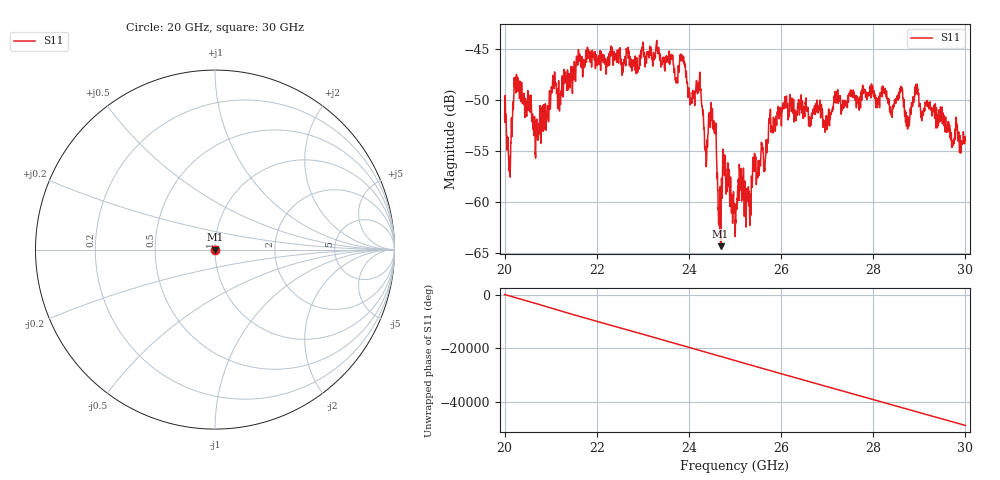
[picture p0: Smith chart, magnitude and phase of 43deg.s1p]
#  HZ  S  RI  R  50.00
! Rohde & Schwarz ZVA40 4Ports - Version 3.90 - 1145.1110k42 SN: 100403
! Date: 2023-10-03 10:42:26
! Measurement: S12
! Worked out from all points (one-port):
!   5001 points, 20 GHz to 30 GHz, reference 50 ohm
!   lowest |S11| = -64.3 dB at 24.69 GHz (marker M1), VSWR 1.00, Z = 50 - j0.055 ohm
!   |S11| at or under -10 dB: start of sweep to end of sweep
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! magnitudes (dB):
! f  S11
! 20 GHz  -51.5
! 20.09 GHz  -56.1
! 20.26 GHz  -47.5
! 20.71 GHz  -53.2
! 21.06 GHz  -47.8
! 21.25 GHz  -47.6
! 21.6 GHz  -45.0
! 22.5 GHz  -45.3
! 23.33 GHz  -45.3
! 23.75 GHz  -48.1
! 23.85 GHz  -45.6
! 24.21 GHz  -48.9
! 24.37 GHz  -55.6
! 24.52 GHz  -52.4
! 24.65 GHz  -62.2
! 24.69 GHz  -64.3
! 24.78 GHz  -56.4
! 25 GHz  -61.2
! 25.14 GHz  -57.7
! 25.3 GHz  -60.0
! 25.77 GHz  -51.3
! 26.25 GHz  -50.2
! 26.95 GHz  -53.0
! 27.5 GHz  -49.1
! 28.6 GHz  -49.1
! 28.75 GHz  -52.7
! 28.94 GHz  -49.1
! 30 GHz  -53.9
